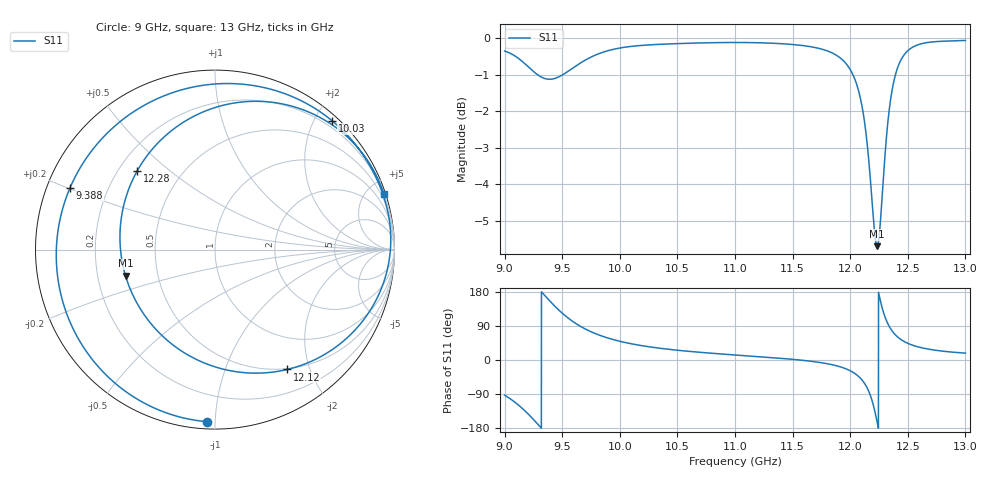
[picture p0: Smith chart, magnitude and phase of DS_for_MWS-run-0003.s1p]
! TOUCHSTONE file generated by CST DESIGN STUDIO
! Date and time: Tue Feb  4 12:51:30 2025
! Project name: C:\Work\MatlabApps\UnitCellOptimizationMatlab\CST\unitcell.cst
! Tree item: Tasks\Sweep1\SPara1\S-Parameters
! Header version: 2024
! Port assignment regex: !\s*Touchstone port\s*([0-9]+)\s*=\s*(CST MWS port|CST DES external port|CST DES block port)\s*(.+)\s* \(\"(.*)\"\)(\s*mode\s*([0-9]+))?.*
! Touchstone port assignment:
! Touchstone port 1 = CST DES external port 1 ("")
# GHz S MA R 50
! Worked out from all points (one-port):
!   4001 points, 9 GHz to 13 GHz, reference 50 ohm
!   lowest |S11| = -5.7 dB at 12.23 GHz (marker M1), VSWR 3.16, Z = 16.1 - j6.45 ohm
!   |S11| at or under -10 dB: nowhere
!   S11 on the Smith chart (normalised r, x): 9 GHz: 0.04, -0.95; 9.388 GHz: 0.07, +0.20; 10.03 GHz: 0.09, +2.26; 12.12 GHz: 0.49, -1.67; 12.28 GHz: 0.28, +0.39; 13 GHz: 0.16, +6.26
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9  0.9596 -92.8
9.09  0.9448 -111.5
9.172  0.9232 -132.9
9.284  0.8912 -168.0
9.388  0.878 157.1
9.5  0.8897 123.6
9.582  0.9072 103.8
9.678  0.9282 85.5
9.828  0.9529 65.0
10  0.9686 49.4
10.025  0.9701 47.6
10.5  0.9822 25.8
11  0.9857 13.3
11.5  0.9795 1.8
11.801  0.96 -9.8
12  0.9053 -28.3
12.065  0.8553 -41.3
12.118  0.7802 -58.8
12.181  0.624 -98.6
12.207  0.5531 -126.4
12.234  0.5194 -163.7
12.28  0.6161 134.8
12.314  0.7299 104.3
12.353  0.8284 81.4
12.419  0.9171 58.8
12.5  0.9605 44.0
12.675  0.9858 28.9
13  0.992 18.1
